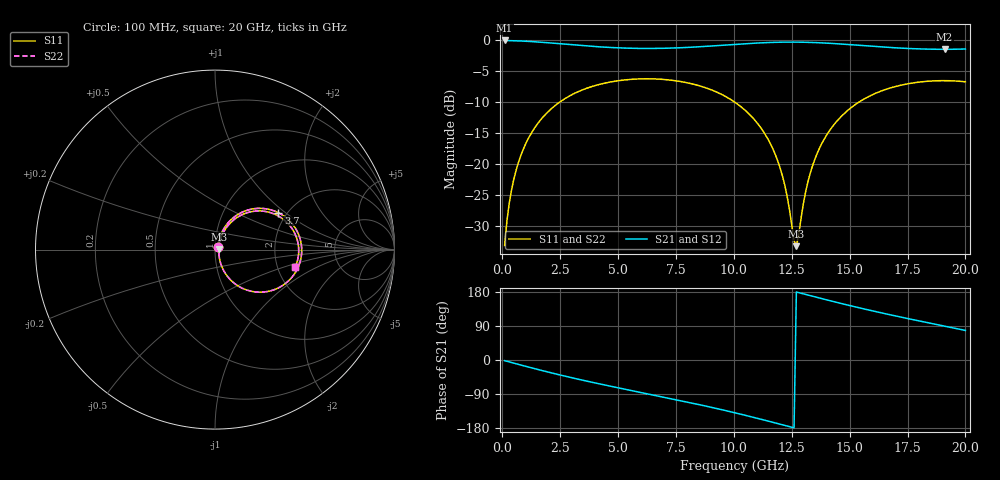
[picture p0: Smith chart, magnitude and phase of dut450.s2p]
! Touchstone file exported from HFSS 2026.1.0
!  File:  C:/ffzhzh/LocalFiles/Ansys_Project_Files/temp_train_TSV_RDL_450_1783099860_50312.aedt
!  Generated:  01:46:38 AM Jul  4, 2026
!  Design:  TSV_RDL
!  Project:  temp_train_TSV_RDL_450_1783099860_50312
! Variables:
!  h_bsmrdl = 4.58um
!  h_ox = 20um
!  h_rdl = 5um
!  h_sub = 93.59um
!  h_tmrdl = 5.12um
!  h_tsv = 93.59um
!  h_via = 3um
!  l_bsmrdl = 175.66um
!  l_sub = 4751.3um
!  l_tmrdl = 923.29um
!  m_sub = 200um
!  pitch = 50.5um
!  r_tsv = 5.84um
!  s_tmrdl = 10um
!  w_bsmrdl = 16.63um
!  w_sub = 500um
!  w_tmrdl = 27.09um
!  x_tsv_center1 = 936.835um
!  x_tsv_center2 = 1129.125um
!  x_tsv_center3 = 2079.505um
!  x_tsv_center4 = 2271.795um
!  x_tsv_center5 = 3222.175um
!  x_tsv_center6 = 3414.465um
# GHz S MA R 50.000000
! Terminal data exported
! Port[1] = TM_RDL1_1_T1
! Port[2] = TM_RDL5_1_T1
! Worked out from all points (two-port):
!   200 points, 100 MHz to 20 GHz, reference 50 ohm
!   highest |S21| = -0.13 dB at 100 MHz (marker M1); lowest = -1.6 dB at 19.1 GHz (marker M2)
!   |S21| within 3 dB of the highest: start of sweep to end of sweep
!   lowest |S11| = -33.3 dB at 12.7 GHz (marker M3), VSWR 1.04, Z = 52.2 + j0.17 ohm
!   |S11| at or under -10 dB: start of sweep to 2.51 GHz; 10 GHz to 15.44 GHz (5.433 GHz wide, 42.7 % of centre)
!   |S22| runs from -33.3 to -6.3 dB; largest |S21 - S12| = 1.8e-14
!   S11 on the Smith chart (normalised r, x): 100 MHz: 1.03, +0.03; 3.7 GHz: 1.81, +0.89; 20 GHz: 2.50, -0.63
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0.1  0.0218 44.5  0.9848 -1.7  0.9848 -1.7  0.0218 44.5
! Gamma 0 0 0 0
! Port Impedance 50 0 50 0
0.3  0.0478 64.5  0.9823 -5.1  0.9823 -5.1  0.0478 64.5
0.5  0.07504 68.2  0.9799 -8.4  0.9799 -8.4  0.07504 68.2
1.1  0.156 64.9  0.9688 -18.1  0.9688 -18.1  0.156 64.9
2.1  0.2752 51.8  0.9395 -33.7  0.9395 -33.7  0.2752 51.8
3.5  0.3957 32.9  0.8934 -53.7  0.8934 -53.7  0.3957 32.9
3.7  0.4084 30.3  0.8876 -56.4  0.8876 -56.4  0.4084 30.3
6.8  0.4796 -7.6  0.8503 -95.8  0.8503 -95.8  0.4796 -7.6
8.6  0.4193 -29.7  0.8779 -119.0  0.8779 -119.0  0.4193 -29.6
10.1  0.3074 -49.0  0.9169 -140.1  0.9169 -140.1  0.3074 -49.0
11.1  0.2019 -61.6  0.9407 -155.2  0.9407 -155.2  0.2019 -61.6
11.8  0.117 -67.9  0.9515 -166.2  0.9515 -166.2  0.117 -67.8
12.2  0.0668 -66.0  0.9546 -172.6  0.9546 -172.6  0.06687 -65.8
12.6  0.02389 -27.4  0.9551 -179.0  0.9551 -179.0  0.02404 -27.2
12.7  0.02154 4.3  0.9548 179.4  0.9548 179.4  0.0217 4.2
13.1  0.05903 60.1  0.9521 173.0  0.9521 173.0  0.05906 59.9
13.4  0.09606 63.8  0.9484 168.2  0.9484 168.2  0.09607 63.7
13.9  0.1571 61.2  0.9394 160.4  0.9394 160.4  0.1571 61.2
14.6  0.236 53.4  0.9226 149.7  0.9226 149.7  0.236 53.4
16.7  0.4044 26.9  0.865 120.0  0.865 120.0  0.4043 26.9
19.1  0.4666 -1.9  0.8355 89.3  0.8355 89.3  0.4666 -1.9
20  0.4568 -12.5  0.84 78.0  0.84 78.0  0.4568 -12.5
